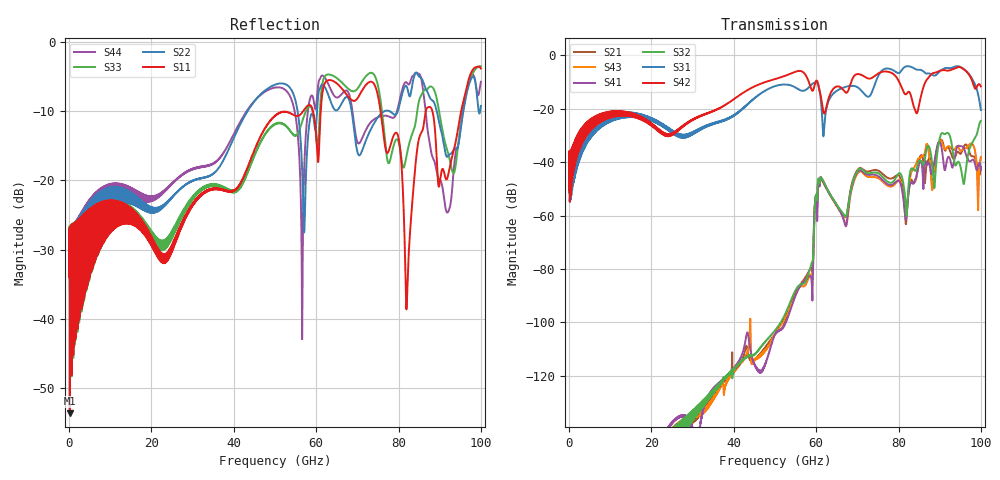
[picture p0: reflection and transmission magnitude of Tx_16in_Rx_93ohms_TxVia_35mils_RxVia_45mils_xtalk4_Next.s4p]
! Info: Touchstone file created by Circ.  Input file=Tx_16in_Rx_93ohms_TxVia_35mils_RxVia_45mils.circ
# Hz S RI R 50
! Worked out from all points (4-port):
!   10000 points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, 10 MHz to 100 GHz, reference 50 ohm
!   strongest paths, dB at 10 MHz, 25.01 GHz, 50.01 GHz, 75.01 GHz, 100 GHz:
!     S42: -50.7, -29.7, -8.9, -6.9, -11.7
!     S31: -51.4, -29.2, -11.5, -8.0, -20.5
!     S32: -, -148.2, -103.0, -44.1, -24.6
!     S41: -, -138.0, -104.5, -45.2, -42.9
!     S43: -, -140.9, -104.4, -46.0, -38.1
!     S21: -, -142.6, -104.4, -43.1, -41.9
!   lowest |S11| = -53.7 dB at 200 MHz (marker M1), VSWR 1.00, Z = 49.8 + j0.0236 ohm
!   |S11| at or under -10 dB: start of sweep to 56.86 GHz; 75.63 GHz to 86.62 GHz (10.98 GHz wide, 13.5 % of centre); 88.23 GHz to 95.21 GHz (6.98 GHz wide, 7.61 % of centre) (the widest 3 of 4)
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1e7  0.0199 -0.00261  1.14e-11 3.65e-13  0.00065 0.00261  1.16e-11 2.82e-12
     1.14e-11 3.65e-13  0.021 -0.00288  8.42e-12 -5.42e-12  0.000682 0.00284
     0.00065 0.00261  8.42e-12 -5.42e-12  0.0214 -0.002  7.61e-12 -1.85e-12
     1.16e-11 2.82e-12  0.000682 0.00284  7.61e-12 -1.85e-12  0.0206 -0.00286
2e8  -0.00206 0.000237  5.47e-11 -1.53e-10  0.00168 0.00409  8.12e-11 3.6e-11
     5.47e-11 -1.53e-10  -0.00209 0.000332  3.14e-11 5.6e-11  0.0016 0.00412
     0.00168 0.00409  3.14e-11 5.6e-11  -0.00218 0.000244  6.09e-11 -1.65e-10
     8.12e-11 3.6e-11  0.0016 0.00412  6.09e-11 -1.65e-10  -0.00205 0.000468
5.811e10  0.3408 0.0747  -1.27e-06 8.59e-05  0.1448 -0.1992  1.4e-05 7.28e-05
          -1.27e-06 8.59e-05  0.2107 0.067  -7.33e-06 7.88e-05  -0.2712 0.1958
          0.1448 -0.1992  -7.33e-06 7.88e-05  0.2994 0.157  5.39e-06 6.63e-05
          1.4e-05 7.28e-05  -0.2712 0.1958  5.39e-06 6.63e-05  0.2983 0.1571
6.095e10  0.1857 0.1763  0.00448 -0.0022  -0.1941 -0.00174  0.00405 -0.002
          0.00448 -0.0022  0.4269 -0.1826  0.00425 -0.00236  0.0371 0.1952
          -0.1941 -0.00174  0.00425 -0.00236  0.2196 0.253  0.00382 -0.00216
          0.00405 -0.002  0.0371 0.1952  0.00382 -0.00216  0.4989 -0.2121
7.41e10  -0.3843 -0.3115  0.00509 -0.00498  -0.014 0.2659  0.00394 -0.00425
         0.00509 -0.00498  0.0821 0.2469  0.00388 -0.00508  0.2852 -0.2853
         -0.014 0.2659  0.00388 -0.00508  -0.4744 -0.3307  0.00276 -0.00447
         0.00394 -0.00425  0.2852 -0.2853  0.00276 -0.00447  0.0679 0.2684
8.205e10  0.00982 -0.00966  -0.00123 -0.000167  -0.0552 -0.6215  -0.00115 0.000471
          -0.00123 -0.000167  -0.1598 -0.4437  0.000255 -0.00115  -0.0413 0.1894
          -0.0552 -0.6215  0.000255 -0.00115  0.0822 -0.1326  0.000537 -0.00143
          -0.00115 0.000471  -0.0413 0.1894  0.000537 -0.00143  -0.1045 -0.4967
1e11  -0.5386 0.3506  -0.00588 -0.00548  0.0557 0.0766  0.00666 -0.00257
      -0.00588 -0.00548  -0.3431 0.0353  -0.0215 -0.0551  0.0181 0.2604
      0.0557 0.0766  -0.0215 -0.0551  -0.5756 0.3391  0.00658 0.0105
      0.00666 -0.00257  0.0181 0.2604  0.00658 0.0105  -0.5103 0.0764
